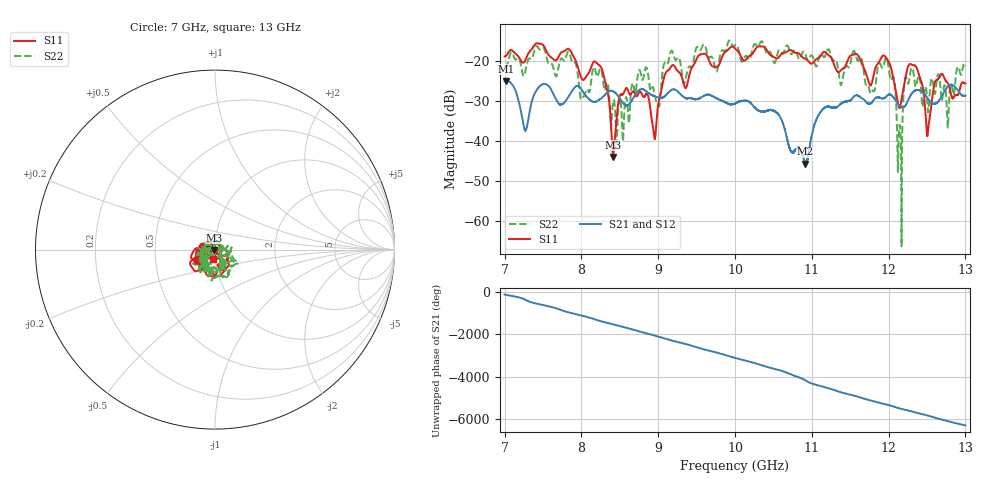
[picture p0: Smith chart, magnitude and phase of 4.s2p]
[Version] 2.0
! Rohde & Schwarz Vector Network Analyzer
! Rohde-Schwarz,ZNL20-2Port,1323001220200009,1.71.1.10-23.02.1.238
! Port Assignments:
! Nominal Port -> Actual Test Port
!  1 -> 1
!  2 -> 2
! Created: GMT+3 2024-09-24 15:08:02
# Hz S DB R 50
[Number of Ports] 2
[Two-Port Data Order] 21_12
! freq[Hz]  S11[mag dB]  S11[ang]  S21[mag dB]  S21[ang]  S12[mag dB]  S12[ang]  S22[mag dB]  S22[ang]
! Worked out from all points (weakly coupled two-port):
!   6001 points, 7 GHz to 13 GHz, reference 50 ohm
!   highest |S21| = -25.08 dB at 7.021 GHz (marker M1); lowest = -45.7 dB at 10.92 GHz (marker M2)
!   lowest |S11| = -44.1 dB at 8.411 GHz (marker M3), VSWR 1.01, Z = 49.4 - j0.145 ohm
!   |S11| at or under -10 dB: start of sweep to end of sweep
!   |S22| runs from -66.4 to -15.0 dB; largest |S21 - S12| = 0.00071
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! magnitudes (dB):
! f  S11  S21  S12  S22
! 7 GHz  -19.0  -25.2  -25.2  -21.2
! 7.021 GHz  -18.8  -25.1  -25.1  -21.5
! 7.271 GHz  -19.9  -37.5  -37.6  -22.7
! 7.478 GHz  -15.9  -26.1  -26.1  -17.1
! 7.833 GHz  -17.1  -29.0  -29.0  -17.8
! 8 GHz  -24.4  -27.2  -27.2  -29.6
! 8.257 GHz  -21.7  -29.5  -29.4  -22.2
! 8.411 GHz  -44.1  -27.7  -27.7  -30.4
! 8.576 GHz  -27.0  -31.2  -31.2  -29.4
! 8.841 GHz  -28.4  -27.6  -27.6  -21.7
! 9 GHz  -30.9  -29.2  -29.2  -31.2
! 9.171 GHz  -21.4  -27.4  -27.3  -17.6
! 10 GHz  -17.0  -30.8  -30.7  -16.2
! 10.92 GHz  -19.6  -45.7  -45.7  -18.5
! 11 GHz  -20.8  -38.7  -38.6  -18.7
! 12 GHz  -20.3  -28.5  -28.5  -21.8
! 12.14 GHz  -31.8  -31.3  -31.2  -36.1
! 12.21 GHz  -24.7  -31.3  -31.4  -24.5
! 12.3 GHz  -21.0  -28.4  -28.4  -21.9
! 12.51 GHz  -38.2  -29.5  -29.5  -32.1
! 12.67 GHz  -23.9  -29.7  -29.7  -25.4
! 13 GHz  -25.7  -28.7  -28.8  -21.4
